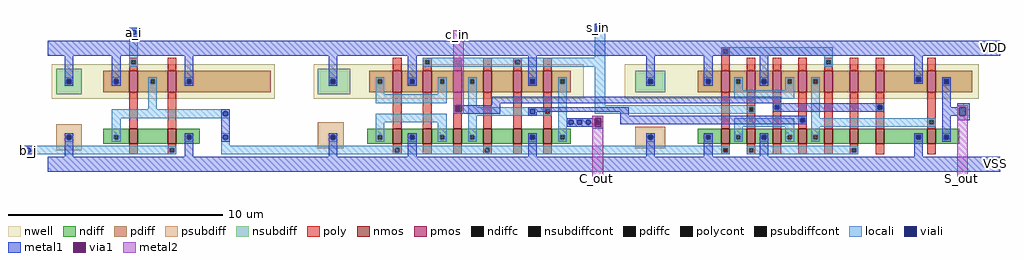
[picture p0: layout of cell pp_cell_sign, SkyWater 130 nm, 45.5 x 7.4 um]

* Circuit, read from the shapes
.subckt pp_cell_sign C_out S_out c_in s_in VDD VSS b_j a_i
XM1 n1 a_i carry1_0/A VSS sky130_fd_pr__nfet_01v8 w=0.7 l=0.4
XM2 VSS b_j n1 VSS sky130_fd_pr__nfet_01v8 w=0.7 l=0.4
XM3 VSS carry1_0/A n2 VSS sky130_fd_pr__nfet_01v8 w=0.7 l=0.4
XM4 n2 s_in VSS VSS sky130_fd_pr__nfet_01v8 w=0.7 l=0.4
XM5 carry1_0/Cob c_in n2 VSS sky130_fd_pr__nfet_01v8 w=0.7 l=0.4
XM6 n3 carry1_0/A carry1_0/Cob VSS sky130_fd_pr__nfet_01v8 w=0.7 l=0.4
XM7 VSS s_in n3 VSS sky130_fd_pr__nfet_01v8 w=0.7 l=0.4
XM8 C_out carry1_0/Cob VSS VSS sky130_fd_pr__nfet_01v8 w=0.7 l=0.4
XM9 n4 carry1_0/A VSS VSS sky130_fd_pr__nfet_01v8 w=0.7 l=0.4
XM10 VSS s_in n4 VSS sky130_fd_pr__nfet_01v8 w=0.7 l=0.4
XM11 n4 c_in VSS VSS sky130_fd_pr__nfet_01v8 w=0.7 l=0.4
XM12 n5 carry1_0/Cob n4 VSS sky130_fd_pr__nfet_01v8 w=0.7 l=0.4
XM13 n6 carry1_0/A n5 VSS sky130_fd_pr__nfet_01v8 w=0.7 l=0.4
XM14 n7 s_in n6 VSS sky130_fd_pr__nfet_01v8 w=0.7 l=0.4
XM15 VSS c_in n7 VSS sky130_fd_pr__nfet_01v8 w=0.7 l=0.4
XM16 S_out n5 VSS VSS sky130_fd_pr__nfet_01v8 w=0.7 l=0.4
XM17 carry1_0/A a_i VDD VDD sky130_fd_pr__pfet_01v8 w=1 l=0.4
XM18 VDD b_j carry1_0/A VDD sky130_fd_pr__pfet_01v8 w=1 l=0.4
XM19 VDD carry1_0/A n8 VDD sky130_fd_pr__pfet_01v8 w=1 l=0.4
XM20 n8 s_in VDD VDD sky130_fd_pr__pfet_01v8 w=1 l=0.4
XM21 carry1_0/Cob c_in n8 VDD sky130_fd_pr__pfet_01v8 w=1 l=0.4
XM22 n9 carry1_0/A carry1_0/Cob VDD sky130_fd_pr__pfet_01v8 w=1 l=0.4
XM23 VDD s_in n9 VDD sky130_fd_pr__pfet_01v8 w=1 l=0.4
XM24 C_out carry1_0/Cob VDD VDD sky130_fd_pr__pfet_01v8 w=1 l=0.4
XM25 n10 carry1_0/A VDD VDD sky130_fd_pr__pfet_01v8 w=1 l=0.4
XM26 VDD s_in n10 VDD sky130_fd_pr__pfet_01v8 w=1 l=0.4
XM27 n10 c_in VDD VDD sky130_fd_pr__pfet_01v8 w=1 l=0.4
XM28 n5 carry1_0/Cob n10 VDD sky130_fd_pr__pfet_01v8 w=1 l=0.4
XM29 n11 carry1_0/A n5 VDD sky130_fd_pr__pfet_01v8 w=1 l=0.4
XM30 n12 s_in n11 VDD sky130_fd_pr__pfet_01v8 w=1 l=0.4
XM31 VDD c_in n12 VDD sky130_fd_pr__pfet_01v8 w=1 l=0.4
XM32 S_out n5 VDD VDD sky130_fd_pr__pfet_01v8 w=1 l=0.4
.ends

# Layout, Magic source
magic
tech sky130A
<< nwell >>
rect -850 0 190 160
<< nmos >>
rect -490 -210 -450 -140
rect -310 -210 -270 -140
<< pmos >>
rect -490 30 -450 130
rect -310 30 -270 130
<< ndiff >>
rect -610 -170 -490 -140
rect -610 -190 -560 -170
rect -540 -190 -490 -170
rect -610 -210 -490 -190
rect -450 -210 -310 -140
rect -270 -170 -160 -140
rect -270 -190 -220 -170
rect -200 -190 -160 -170
rect -270 -210 -160 -190
<< pdiff >>
rect -610 90 -490 130
rect -610 70 -560 90
rect -540 70 -490 90
rect -610 30 -490 70
rect -450 90 -310 130
rect -450 70 -390 90
rect -370 70 -310 90
rect -450 30 -310 70
rect -270 90 170 130
rect -270 70 -220 90
rect -200 70 170 90
rect -270 30 170 70
<< ndiffc >>
rect -560 -190 -540 -170
rect -220 -190 -200 -170
<< pdiffc >>
rect -560 70 -540 90
rect -390 70 -370 90
rect -220 70 -200 90
<< psubdiff >>
rect -830 -170 -710 -120
rect -830 -190 -780 -170
rect -760 -190 -710 -170
rect -830 -240 -710 -190
<< nsubdiff >>
rect -830 90 -710 140
rect -830 70 -780 90
rect -760 70 -710 90
rect -830 20 -710 70
<< psubdiffcont >>
rect -780 -190 -760 -170
<< nsubdiffcont >>
rect -780 70 -760 90
<< poly >>
rect -490 180 -450 190
rect -490 160 -480 180
rect -460 160 -450 180
rect -490 130 -450 160
rect -310 130 -270 190
rect -490 -140 -450 30
rect -310 -140 -270 30
rect -490 -260 -450 -210
rect -310 -230 -270 -210
rect -310 -250 -300 -230
rect -280 -250 -270 -230
rect -310 -260 -270 -250
<< polycont >>
rect -480 160 -460 180
rect 1030 -60 1050 -40
rect 2400 -60 2420 -40
rect 2640 -110 2660 -90
rect -300 -250 -280 -230
rect 2280 -250 2300 -230
<< locali >>
rect 1680 340 1730 350
rect -490 320 -450 330
rect -490 300 -480 320
rect -460 300 -450 320
rect -490 180 -450 300
rect 1680 320 1690 340
rect 1710 320 1730 340
rect 1680 190 1730 320
rect -490 160 -480 180
rect -460 160 -450 180
rect -490 150 -450 160
rect 1310 150 1730 190
rect -790 90 -750 100
rect -790 70 -780 90
rect -760 70 -750 90
rect -790 60 -750 70
rect -570 90 -530 100
rect -570 70 -560 90
rect -540 70 -530 90
rect -570 60 -530 70
rect -400 90 -360 100
rect -400 70 -390 90
rect -370 70 -360 90
rect -400 -50 -360 70
rect -230 90 -190 100
rect -230 70 -220 90
rect -200 70 -190 90
rect -230 60 -190 70
rect 1680 -30 1730 150
rect 1020 -40 1060 -30
rect -570 -60 -20 -50
rect -570 -80 -50 -60
rect -30 -80 -20 -60
rect 1020 -60 1030 -40
rect 1050 -60 1060 -40
rect 1680 -40 2430 -30
rect 1020 -70 1060 -60
rect 1680 -60 2400 -40
rect 2420 -60 2430 -40
rect 1680 -70 2430 -60
rect -570 -90 -20 -80
rect 2630 -90 2670 -80
rect -790 -170 -750 -160
rect -790 -190 -780 -170
rect -760 -190 -750 -170
rect -790 -200 -750 -190
rect -570 -170 -530 -90
rect 2630 -110 2640 -90
rect 2660 -110 2670 -90
rect 2630 -120 2670 -110
rect -570 -190 -560 -170
rect -540 -190 -530 -170
rect -570 -200 -530 -190
rect -230 -170 -190 -160
rect -230 -190 -220 -170
rect -200 -190 -190 -170
rect -230 -200 -190 -190
rect -60 -170 -20 -160
rect -60 -190 -50 -170
rect -30 -190 -20 -170
rect -60 -220 -20 -190
rect -980 -230 -270 -220
rect -980 -250 -970 -230
rect -950 -250 -300 -230
rect -280 -250 -270 -230
rect -980 -260 -270 -250
rect -60 -260 780 -220
rect 1160 -230 2310 -220
rect 1160 -250 2280 -230
rect 2300 -250 2310 -230
rect 1160 -260 2310 -250
<< viali >>
rect -480 300 -460 320
rect 1690 320 1710 340
rect -780 70 -760 90
rect -560 70 -540 90
rect -220 70 -200 90
rect -50 -80 -30 -60
rect 1030 -60 1050 -40
rect 1380 -70 1400 -50
rect -780 -190 -760 -170
rect 2640 -110 2660 -90
rect -220 -190 -200 -170
rect -50 -190 -30 -170
rect -970 -250 -950 -230
<< metal1 >>
rect 1680 340 1730 350
rect -490 320 -450 330
rect -490 300 -480 320
rect -460 300 -450 320
rect 1680 320 1690 340
rect 1710 320 1730 340
rect 1680 310 1730 320
rect -490 290 -450 300
rect -870 200 400 270
rect 1670 200 1850 270
rect 3170 200 3570 270
rect -790 90 -750 200
rect -790 70 -780 90
rect -760 70 -750 90
rect -790 60 -750 70
rect -570 90 -530 200
rect -570 70 -560 90
rect -540 70 -530 90
rect -570 60 -530 70
rect -230 90 -190 200
rect -230 70 -220 90
rect -200 70 -190 90
rect -230 60 -190 70
rect 1200 -20 2550 10
rect 1200 -30 1240 -20
rect -60 -60 -20 -50
rect -60 -80 -50 -60
rect -30 -80 -20 -60
rect 1020 -60 1030 -30
rect 1060 -60 1240 -30
rect 1020 -70 1240 -60
rect 1370 -50 1840 -40
rect 1370 -70 1380 -50
rect 1400 -60 1840 -50
rect 2510 -60 2550 -20
rect 3370 -40 3430 -20
rect 1400 -70 1410 -60
rect 1370 -80 1410 -70
rect 1800 -80 1840 -60
rect 3370 -80 3380 -40
rect 3410 -80 3430 -40
rect -790 -170 -750 -160
rect -790 -190 -780 -170
rect -760 -190 -750 -170
rect -980 -230 -940 -220
rect -980 -250 -970 -230
rect -950 -250 -940 -230
rect -980 -260 -940 -250
rect -790 -270 -750 -190
rect -230 -170 -190 -160
rect -230 -190 -220 -170
rect -200 -190 -190 -170
rect -230 -270 -190 -190
rect -60 -170 -20 -80
rect 1800 -90 2670 -80
rect 1800 -110 2640 -90
rect 2660 -110 2670 -90
rect 3370 -100 3430 -80
rect 1800 -120 2670 -110
rect -60 -190 -50 -170
rect -30 -190 -20 -170
rect -60 -200 -20 -190
rect -870 -340 400 -270
rect 1670 -340 1850 -270
rect 3320 -340 3570 -270
<< via1 >>
rect 1030 -40 1060 -30
rect 1030 -60 1050 -40
rect 1050 -60 1060 -40
rect 3380 -80 3410 -40
rect 1680 -130 1710 -90
<< metal2 >>
rect 1020 -30 1070 320
rect 1020 -60 1030 -30
rect 1060 -60 1070 -30
rect 1020 -70 1070 -60
rect 3370 -40 3420 -30
rect 3370 -80 3380 -40
rect 3410 -80 3420 -40
rect 1670 -90 1720 -80
rect 1670 -130 1680 -90
rect 1710 -130 1720 -90
rect 1670 -390 1720 -130
rect 3370 -390 3420 -80
use carry1  carry1_0
transform 1 0 -960 0 1 -30
box 1330 -310 2700 300
use sum_backup  sum_backup_0
transform 1 0 -840 0 1 -30
box 2660 -310 4320 300
<< labels >>
rlabel metal2 1680 -380 1700 -360 1 C_out
port 1 n
rlabel metal2 3380 -380 3400 -360 1 S_out
port 2 n
rlabel metal2 1030 290 1050 310 1 c_in
port 5 n
rlabel viali 1690 320 1710 340 1 s_in
port 6 n
rlabel metal1 3530 230 3550 250 1 VDD
port 7 n
rlabel metal1 3540 -310 3560 -290 1 VSS
port 8 n
rlabel viali -970 -250 -950 -230 1 b_j
port 9 n
rlabel viali -480 300 -460 320 1 a_i
port 10 n
<< end >>

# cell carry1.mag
magic
tech sky130A
<< nwell >>
rect 1330 30 2590 190
<< nmos >>
rect 1700 -180 1740 -110
rect 1840 -180 1880 -110
rect 1980 -180 2020 -110
rect 2120 -180 2160 -110
rect 2260 -180 2300 -110
rect 2400 -180 2440 -110
<< pmos >>
rect 1700 60 1740 160
rect 1840 60 1880 160
rect 1980 60 2020 160
rect 2120 60 2160 160
rect 2260 60 2300 160
rect 2400 60 2440 160
<< ndiff >>
rect 1580 -140 1700 -110
rect 1580 -160 1630 -140
rect 1650 -160 1700 -140
rect 1580 -180 1700 -160
rect 1740 -140 1840 -110
rect 1740 -160 1780 -140
rect 1800 -160 1840 -140
rect 1740 -180 1840 -160
rect 1880 -140 1980 -110
rect 1880 -160 1920 -140
rect 1940 -160 1980 -140
rect 1880 -180 1980 -160
rect 2020 -140 2120 -110
rect 2020 -160 2060 -140
rect 2080 -160 2120 -140
rect 2020 -180 2120 -160
rect 2160 -180 2260 -110
rect 2300 -140 2400 -110
rect 2300 -160 2340 -140
rect 2360 -160 2400 -140
rect 2300 -180 2400 -160
rect 2440 -140 2530 -110
rect 2440 -160 2480 -140
rect 2500 -160 2530 -140
rect 2440 -180 2530 -160
<< pdiff >>
rect 1590 120 1700 160
rect 1590 100 1630 120
rect 1650 100 1700 120
rect 1590 60 1700 100
rect 1740 120 1840 160
rect 1740 100 1780 120
rect 1800 100 1840 120
rect 1740 60 1840 100
rect 1880 120 1980 160
rect 1880 100 1920 120
rect 1940 100 1980 120
rect 1880 60 1980 100
rect 2020 120 2120 160
rect 2020 100 2060 120
rect 2080 100 2120 120
rect 2020 60 2120 100
rect 2160 60 2260 160
rect 2300 120 2400 160
rect 2300 100 2340 120
rect 2360 100 2400 120
rect 2300 60 2400 100
rect 2440 120 2530 160
rect 2440 100 2480 120
rect 2500 100 2530 120
rect 2440 60 2530 100
<< ndiffc >>
rect 1630 -160 1650 -140
rect 1780 -160 1800 -140
rect 1920 -160 1940 -140
rect 2060 -160 2080 -140
rect 2340 -160 2360 -140
rect 2480 -160 2500 -140
<< pdiffc >>
rect 1630 100 1650 120
rect 1780 100 1800 120
rect 1920 100 1940 120
rect 2060 100 2080 120
rect 2340 100 2360 120
rect 2480 100 2500 120
<< psubdiff >>
rect 1350 -140 1470 -80
rect 1350 -160 1410 -140
rect 1430 -160 1470 -140
rect 1350 -200 1470 -160
<< nsubdiff >>
rect 1350 120 1500 170
rect 1350 100 1410 120
rect 1430 100 1500 120
rect 1350 50 1500 100
<< psubdiffcont >>
rect 1410 -160 1430 -140
<< nsubdiffcont >>
rect 1410 100 1430 120
<< poly >>
rect 1700 160 1740 220
rect 1840 210 1880 220
rect 1840 190 1850 210
rect 1870 190 1880 210
rect 1840 160 1880 190
rect 1980 160 2020 220
rect 2120 160 2160 220
rect 2260 210 2300 220
rect 2260 190 2270 210
rect 2290 190 2300 210
rect 2260 160 2300 190
rect 2400 160 2440 220
rect 1700 -110 1740 60
rect 1840 -110 1880 60
rect 1980 -110 2020 60
rect 2120 -110 2160 60
rect 2260 -110 2300 60
rect 2400 -20 2440 60
rect 2400 -40 2410 -20
rect 2430 -40 2440 -20
rect 2400 -110 2440 -40
rect 1700 -200 1740 -180
rect 1700 -220 1710 -200
rect 1730 -220 1740 -200
rect 1700 -230 1740 -220
rect 1840 -230 1880 -180
rect 1980 -230 2020 -180
rect 2120 -200 2160 -180
rect 2120 -220 2130 -200
rect 2150 -220 2160 -200
rect 2120 -230 2160 -220
rect 2260 -230 2300 -180
rect 2400 -230 2440 -180
<< polycont >>
rect 1850 190 1870 210
rect 2270 190 2290 210
rect 2410 -40 2430 -20
rect 1710 -220 1730 -200
rect 2130 -220 2150 -200
<< locali >>
rect 1840 210 2300 220
rect 1840 190 1850 210
rect 1870 190 2270 210
rect 2290 190 2300 210
rect 1840 180 2300 190
rect 1400 120 1440 130
rect 1400 100 1410 120
rect 1430 100 1440 120
rect 1400 90 1440 100
rect 1620 120 1660 130
rect 1620 100 1630 120
rect 1650 100 1660 120
rect 1620 50 1660 100
rect 1770 120 1810 130
rect 1770 100 1780 120
rect 1800 100 1810 120
rect 1770 90 1810 100
rect 1910 120 1950 130
rect 1910 100 1920 120
rect 1940 100 1950 120
rect 1910 50 1950 100
rect 1620 10 1950 50
rect 2050 120 2090 130
rect 2050 100 2060 120
rect 2080 100 2090 120
rect 2050 -10 2090 100
rect 2330 120 2370 130
rect 2330 100 2340 120
rect 2360 100 2370 120
rect 2330 90 2370 100
rect 2470 120 2510 130
rect 2470 100 2480 120
rect 2500 100 2510 120
rect 2050 -20 2440 -10
rect 2050 -40 2340 -20
rect 2360 -40 2410 -20
rect 2430 -40 2440 -20
rect 1620 -80 1950 -40
rect 1400 -140 1440 -130
rect 1400 -160 1410 -140
rect 1430 -160 1440 -140
rect 1400 -170 1440 -160
rect 1620 -140 1660 -80
rect 1620 -160 1630 -140
rect 1650 -160 1660 -140
rect 1620 -170 1660 -160
rect 1770 -140 1810 -130
rect 1770 -160 1780 -140
rect 1800 -160 1810 -140
rect 1770 -170 1810 -160
rect 1910 -140 1950 -80
rect 1910 -160 1920 -140
rect 1940 -160 1950 -140
rect 1910 -170 1950 -160
rect 2050 -50 2440 -40
rect 2050 -140 2090 -50
rect 2470 -60 2510 100
rect 2470 -70 2670 -60
rect 2470 -90 2520 -70
rect 2540 -90 2560 -70
rect 2580 -90 2600 -70
rect 2620 -90 2640 -70
rect 2660 -90 2670 -70
rect 2470 -100 2670 -90
rect 2050 -160 2060 -140
rect 2080 -160 2090 -140
rect 2050 -170 2090 -160
rect 2330 -140 2370 -130
rect 2330 -160 2340 -140
rect 2360 -160 2370 -140
rect 2330 -170 2370 -160
rect 2470 -140 2510 -100
rect 2470 -160 2480 -140
rect 2500 -160 2510 -140
rect 2470 -170 2510 -160
rect 1700 -200 2160 -190
rect 1700 -220 1710 -200
rect 1730 -220 2130 -200
rect 2150 -220 2160 -200
rect 1700 -230 2160 -220
<< viali >>
rect 1410 100 1430 120
rect 1780 100 1800 120
rect 2340 100 2360 120
rect 2340 -40 2360 -20
rect 1410 -160 1430 -140
rect 1780 -160 1800 -140
rect 2520 -90 2540 -70
rect 2560 -90 2580 -70
rect 2600 -90 2620 -70
rect 2640 -90 2660 -70
rect 2340 -160 2360 -140
<< metal1 >>
rect 1330 230 2700 300
rect 1400 120 1440 230
rect 1400 100 1410 120
rect 1430 100 1440 120
rect 1400 90 1440 100
rect 1770 120 1810 230
rect 1770 100 1780 120
rect 1800 100 1810 120
rect 1770 90 1810 100
rect 2330 120 2370 230
rect 2330 100 2340 120
rect 2360 100 2370 120
rect 2330 90 2370 100
rect 2330 -20 2370 -10
rect 2330 -40 2340 -20
rect 2360 -40 2370 -20
rect 2330 -50 2370 -40
rect 2630 -60 2680 -50
rect 2510 -70 2680 -60
rect 2510 -90 2520 -70
rect 2540 -90 2560 -70
rect 2580 -90 2600 -70
rect 2620 -90 2640 -70
rect 2660 -90 2680 -70
rect 2510 -100 2680 -90
rect 2630 -110 2680 -100
rect 1400 -140 1440 -130
rect 1400 -160 1410 -140
rect 1430 -160 1440 -140
rect 1400 -240 1440 -160
rect 1770 -140 1810 -130
rect 1770 -160 1780 -140
rect 1800 -160 1810 -140
rect 1770 -240 1810 -160
rect 2330 -140 2370 -130
rect 2330 -160 2340 -140
rect 2360 -160 2370 -140
rect 2330 -240 2370 -160
rect 1330 -310 2670 -240
<< labels >>
flabel metal1 2660 260 2680 280 0 FreeSans 64 0 0 0 VDD
port 7 nsew
flabel viali 2640 -90 2660 -70 0 FreeSans 64 0 0 0 Cout
port 6 nsew
flabel viali 2340 -40 2360 -20 0 FreeSans 64 0 0 0 Cob
port 4 nsew
flabel polycont 1710 -220 1730 -200 0 FreeSans 80 0 0 0 A
port 1 nsew
flabel metal1 2640 -280 2660 -260 0 FreeSans 64 0 0 0 VSS
port 5 nsew
flabel poly 1990 -30 2010 -10 0 FreeSans 64 0 0 0 Ci
port 8 nsew
flabel polycont 1850 190 1870 210 0 FreeSans 64 0 0 0 B
port 9 nsew
<< end >>

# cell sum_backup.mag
magic
tech sky130A
<< nwell >>
rect 2660 30 4310 190
<< nmos >>
rect 3110 -180 3150 -110
rect 3230 -180 3270 -110
rect 3350 -180 3390 -110
rect 3470 -180 3510 -110
rect 3590 -180 3630 -110
rect 3710 -180 3750 -110
rect 3830 -180 3870 -110
rect 4070 -180 4110 -110
<< pmos >>
rect 3110 60 3150 160
rect 3230 60 3270 160
rect 3350 60 3390 160
rect 3470 60 3510 160
rect 3590 60 3630 160
rect 3710 60 3750 160
rect 3830 60 3870 160
rect 4070 60 4110 160
<< ndiff >>
rect 3000 -140 3110 -110
rect 3000 -160 3040 -140
rect 3060 -160 3110 -140
rect 3000 -180 3110 -160
rect 3150 -140 3230 -110
rect 3150 -160 3180 -140
rect 3200 -160 3230 -140
rect 3150 -180 3230 -160
rect 3270 -140 3350 -110
rect 3270 -160 3300 -140
rect 3320 -160 3350 -140
rect 3270 -180 3350 -160
rect 3390 -140 3470 -110
rect 3390 -160 3420 -140
rect 3440 -160 3470 -140
rect 3390 -180 3470 -160
rect 3510 -140 3590 -110
rect 3510 -160 3540 -140
rect 3560 -160 3590 -140
rect 3510 -180 3590 -160
rect 3630 -180 3710 -110
rect 3750 -180 3830 -110
rect 3870 -140 4070 -110
rect 3870 -160 4020 -140
rect 4040 -160 4070 -140
rect 3870 -180 4070 -160
rect 4110 -140 4220 -110
rect 4110 -160 4150 -140
rect 4170 -160 4220 -140
rect 4110 -180 4220 -160
<< pdiff >>
rect 3000 120 3110 160
rect 3000 100 3040 120
rect 3060 100 3110 120
rect 3000 60 3110 100
rect 3150 120 3230 160
rect 3150 100 3180 120
rect 3200 100 3230 120
rect 3150 60 3230 100
rect 3270 120 3350 160
rect 3270 100 3300 120
rect 3320 100 3350 120
rect 3270 60 3350 100
rect 3390 120 3470 160
rect 3390 100 3420 120
rect 3440 100 3470 120
rect 3390 60 3470 100
rect 3510 120 3590 160
rect 3510 100 3540 120
rect 3560 100 3590 120
rect 3510 60 3590 100
rect 3630 60 3710 160
rect 3750 60 3830 160
rect 3870 130 4070 160
rect 3870 110 4020 130
rect 4040 110 4070 130
rect 3870 60 4070 110
rect 4110 120 4280 160
rect 4110 100 4150 120
rect 4170 100 4280 120
rect 4110 60 4280 100
<< ndiffc >>
rect 3040 -160 3060 -140
rect 3180 -160 3200 -140
rect 3300 -160 3320 -140
rect 3420 -160 3440 -140
rect 3540 -160 3560 -140
rect 4020 -160 4040 -140
rect 4150 -160 4170 -140
<< pdiffc >>
rect 3040 100 3060 120
rect 3180 100 3200 120
rect 3300 100 3320 120
rect 3420 100 3440 120
rect 3540 100 3560 120
rect 4020 110 4040 130
rect 4150 100 4170 120
<< psubdiff >>
rect 2710 -140 2850 -100
rect 2710 -160 2770 -140
rect 2790 -160 2850 -140
rect 2710 -200 2850 -160
<< nsubdiff >>
rect 2710 120 2850 160
rect 2710 100 2770 120
rect 2790 100 2850 120
rect 2710 60 2850 100
<< psubdiffcont >>
rect 2770 -160 2790 -140
<< nsubdiffcont >>
rect 2770 100 2790 120
<< poly >>
rect 3110 260 3150 270
rect 3110 240 3120 260
rect 3140 240 3150 260
rect 3110 160 3150 240
rect 3230 160 3270 220
rect 3350 160 3390 220
rect 3470 160 3510 220
rect 3590 210 3630 220
rect 3590 190 3600 210
rect 3620 190 3630 210
rect 3590 160 3630 190
rect 3710 160 3750 220
rect 3830 160 3870 220
rect 4070 160 4110 220
rect 3110 -110 3150 60
rect 3230 -110 3270 60
rect 3350 0 3390 60
rect 3350 -20 3360 0
rect 3380 -20 3390 0
rect 3350 -110 3390 -20
rect 3470 -110 3510 60
rect 3590 -110 3630 60
rect 3710 -110 3750 60
rect 3830 0 3870 60
rect 3830 -20 3840 0
rect 3860 -20 3870 0
rect 3830 -110 3870 -20
rect 4070 -70 4110 60
rect 4070 -90 4080 -70
rect 4100 -90 4110 -70
rect 4070 -110 4110 -90
rect 3110 -230 3150 -180
rect 3230 -200 3270 -180
rect 3230 -220 3240 -200
rect 3260 -220 3270 -200
rect 3230 -230 3270 -220
rect 3350 -230 3390 -180
rect 3470 -230 3510 -180
rect 3590 -230 3630 -180
rect 3710 -200 3750 -180
rect 3710 -220 3720 -200
rect 3740 -220 3750 -200
rect 3710 -230 3750 -220
rect 3830 -230 3870 -180
rect 4070 -230 4110 -180
<< polycont >>
rect 3120 240 3140 260
rect 3600 190 3620 210
rect 3360 -20 3380 0
rect 3840 -20 3860 0
rect 4080 -90 4100 -70
rect 3240 -220 3260 -200
rect 3720 -220 3740 -200
<< locali >>
rect 3110 260 3630 270
rect 3110 240 3120 260
rect 3140 240 3630 260
rect 3110 230 3630 240
rect 3590 210 3630 230
rect 3590 190 3600 210
rect 3620 190 3630 210
rect 3590 180 3630 190
rect 4010 130 4050 140
rect 2760 120 2800 130
rect 2760 100 2770 120
rect 2790 100 2800 120
rect 2760 90 2800 100
rect 3030 120 3070 130
rect 3030 100 3040 120
rect 3060 100 3070 120
rect 3030 90 3070 100
rect 3170 120 3210 130
rect 3170 100 3180 120
rect 3200 100 3210 120
rect 3170 70 3210 100
rect 3290 120 3330 130
rect 3290 100 3300 120
rect 3320 100 3330 120
rect 3290 90 3330 100
rect 3410 120 3450 130
rect 3410 100 3420 120
rect 3440 100 3450 120
rect 3410 70 3450 100
rect 3170 30 3450 70
rect 3530 120 3570 130
rect 3530 100 3540 120
rect 3560 100 3570 120
rect 4010 110 4020 130
rect 4040 110 4050 130
rect 4010 100 4050 110
rect 4140 120 4180 130
rect 4140 100 4150 120
rect 4170 100 4180 120
rect 3350 0 3390 10
rect 3350 -20 3360 0
rect 3380 -20 3390 0
rect 3350 -30 3390 -20
rect 3530 -60 3570 100
rect 4140 90 4180 100
rect 3830 0 3870 10
rect 3830 -20 3840 0
rect 3860 -20 3870 0
rect 3830 -30 3870 -20
rect 3170 -100 3450 -60
rect 2760 -140 2800 -130
rect 2760 -160 2770 -140
rect 2790 -160 2800 -140
rect 2760 -170 2800 -160
rect 3030 -140 3070 -130
rect 3030 -160 3040 -140
rect 3060 -160 3070 -140
rect 3030 -170 3070 -160
rect 3170 -140 3210 -100
rect 3170 -160 3180 -140
rect 3200 -160 3210 -140
rect 3170 -170 3210 -160
rect 3290 -140 3330 -130
rect 3290 -160 3300 -140
rect 3320 -160 3330 -140
rect 3290 -170 3330 -160
rect 3410 -140 3450 -100
rect 3410 -160 3420 -140
rect 3440 -160 3450 -140
rect 3410 -170 3450 -160
rect 3530 -70 4110 -60
rect 3530 -90 4080 -70
rect 4100 -90 4110 -70
rect 3530 -100 4110 -90
rect 3530 -140 3570 -100
rect 3530 -160 3540 -140
rect 3560 -160 3570 -140
rect 3530 -170 3570 -160
rect 4010 -140 4050 -130
rect 4010 -160 4020 -140
rect 4040 -160 4050 -140
rect 4010 -170 4050 -160
rect 4140 -140 4180 -130
rect 4140 -160 4150 -140
rect 4170 -160 4180 -140
rect 4140 -170 4180 -160
rect 3230 -200 3750 -190
rect 3230 -220 3240 -200
rect 3260 -220 3720 -200
rect 3740 -220 3750 -200
rect 3230 -230 3750 -220
<< viali >>
rect 2770 100 2790 120
rect 3040 100 3060 120
rect 3300 100 3320 120
rect 4020 110 4040 130
rect 4150 100 4170 120
rect 3360 -20 3380 0
rect 3840 -20 3860 0
rect 2770 -160 2790 -140
rect 3040 -160 3060 -140
rect 3300 -160 3320 -140
rect 4020 -160 4040 -140
rect 4150 -160 4170 -140
<< metal1 >>
rect 2660 230 4320 300
rect 2760 120 2800 230
rect 2760 100 2770 120
rect 2790 100 2800 120
rect 2760 90 2800 100
rect 3030 120 3070 230
rect 3030 100 3040 120
rect 3060 100 3070 120
rect 3030 90 3070 100
rect 3290 120 3330 230
rect 3290 100 3300 120
rect 3320 100 3330 120
rect 4010 130 4050 230
rect 4010 110 4020 130
rect 4040 110 4050 130
rect 4010 100 4050 110
rect 4140 120 4180 130
rect 4140 100 4150 120
rect 4170 100 4180 120
rect 3290 90 3330 100
rect 3350 0 3870 10
rect 3350 -20 3360 0
rect 3380 -20 3840 0
rect 3860 -20 3870 0
rect 3350 -30 3870 -20
rect 4140 -10 4180 100
rect 4140 -50 4250 -10
rect 2760 -140 2800 -130
rect 2760 -160 2770 -140
rect 2790 -160 2800 -140
rect 2760 -240 2800 -160
rect 3030 -140 3070 -130
rect 3030 -160 3040 -140
rect 3060 -160 3070 -140
rect 3030 -240 3070 -160
rect 3290 -140 3330 -130
rect 3290 -160 3300 -140
rect 3320 -160 3330 -140
rect 3290 -240 3330 -160
rect 4010 -140 4050 -130
rect 4010 -160 4020 -140
rect 4040 -160 4050 -140
rect 4010 -240 4050 -160
rect 4140 -140 4180 -50
rect 4140 -160 4150 -140
rect 4170 -160 4180 -140
rect 4140 -170 4180 -160
rect 2660 -310 4320 -240
<< labels >>
rlabel poly 3120 -30 3140 -10 1 A
port 1 n
rlabel poly 3240 -30 3260 -10 1 B
port 2 n
rlabel metal1 3360 -20 3380 0 1 Ci
port 3 n
rlabel poly 3480 -80 3500 -60 1 Cob
port 4 n
rlabel metal1 4220 -40 4240 -20 1 S_out
port 5 n
rlabel metal1 4220 250 4240 270 1 VDD
port 6 n
rlabel metal1 4220 -290 4240 -270 1 VSS
port 7 n
<< end >>
